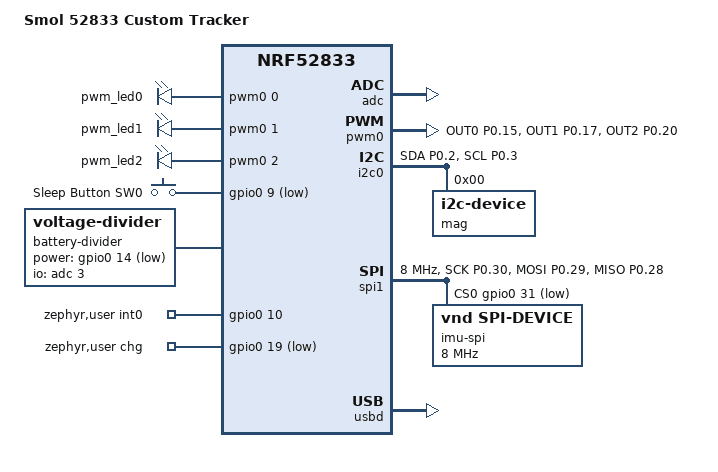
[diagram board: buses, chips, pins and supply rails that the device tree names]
/dts-v1/;
#include <nordic/nrf52833_qdaa.dtsi>

// 1. 引脚控制 (Pin Control) 配置
&pinctrl {
    // I2C (QMC6309) 引脚配置：使用外部上拉电阻，内部禁用
    i2c0_default: i2c0_default {
        group1 {
            psels = <NRF_PSEL(TWIM_SDA, 0, 2)>,
                    <NRF_PSEL(TWIM_SCL, 0, 3)>;
            bias-disable; 
        };
    };
    i2c0_sleep: i2c0_sleep {
        group1 {
            psels = <NRF_PSEL(TWIM_SDA, 0, 2)>,
                    <NRF_PSEL(TWIM_SCL, 0, 3)>;
            bias-disable;
            low-power-enable;
        };
    };

    // SPI (LSM6DSV) 引脚配置
    spi1_default: spi1_default {
        group1 {
            psels = <NRF_PSEL(SPIM_SCK, 0, 30)>,
                    <NRF_PSEL(SPIM_MOSI, 0, 29)>,
                    <NRF_PSEL(SPIM_MISO, 0, 28)>;
        };
    };
    spi1_sleep: spi1_sleep {
        group1 {
            psels = <NRF_PSEL(SPIM_SCK, 0, 30)>,
                    <NRF_PSEL(SPIM_MOSI, 0, 29)>,
                    <NRF_PSEL(SPIM_MISO, 0, 28)>;
            low-power-enable;
        };
    };

    // PWM (共阳极 RGB) 引脚配置 
    pwm0_default: pwm0_default {
        group1 {
            psels = <NRF_PSEL(PWM_OUT0, 0, 15)>, // Red
                    <NRF_PSEL(PWM_OUT1, 0, 17)>, //Green
                    <NRF_PSEL(PWM_OUT2, 0, 20)>; //Blue
            //共阳极配置：开漏输出 (拉低点亮，拉高断开)
            nordic,drive-mode = <NRF_DRIVE_S0D1>;
            nordic,invert; 
        };
    };
    pwm0_sleep: pwm0_sleep {
        group1 {
            psels = <NRF_PSEL(PWM_OUT0, 0, 15)>,
                    <NRF_PSEL(PWM_OUT1, 0, 17)>,
                    <NRF_PSEL(PWM_OUT2, 0, 20)>;
            low-power-enable;
        };
    };
};

/* 2. 根节点配置 */
/ {
    model = "Smol 52833 Custom Tracker";
    compatible = "custom,smol52833";

    chosen {
        zephyr,sram = &sram0;
        zephyr,flash = &flash0;
        /* 开启 USB 虚拟串口调试 */
        zephyr,console = &cdc_acm_uart0;
        zephyr,shell-uart = &cdc_acm_uart0;
    };

    /* RGB LED 映射 */
    pwmleds {
        compatible = "pwm-leds";
        pwm_led0: pwm_led_0 {
            pwms = <&pwm0 0 PWM_MSEC(1) PWM_POLARITY_INVERTED>;
        };
        pwm_led1: pwm_led_1 {
            pwms = <&pwm0 1 PWM_MSEC(1) PWM_POLARITY_INVERTED>;
        };
        pwm_led2: pwm_led_2 {
            pwms = <&pwm0 2 PWM_MSEC(1) PWM_POLARITY_INVERTED>;
        };
    };

    //SW0
    buttons {
        compatible = "gpio-keys";
        button0: button_0 {
            gpios = <&gpio0 9 (GPIO_PULL_UP | GPIO_ACTIVE_LOW)>;
            label = "Sleep Button SW0";
        };
    };

    aliases {
        sw0 = &button0;
        pwm-led0 = &pwm_led0;
        pwm-led1 = &pwm_led1;
        pwm-led2 = &pwm_led2;
    };

    //ADC
    battery-divider {
        compatible = "voltage-divider";
        status = "okay";
        io-channels = <&adc 3>;
        output-ohms = <510000>;
        full-ohms = <(1000000+510000)>;
        power-gpios = <&gpio0 14 (GPIO_OPEN_DRAIN|GPIO_ACTIVE_LOW)>;
    };

    zephyr,user {
        // LSM6DSV INT1
        int0-gpios = <&gpio0 10 GPIO_ACTIVE_HIGH>;
        // BQ25101 CHG
        chg-gpios = <&gpio0 19 (GPIO_ACTIVE_LOW | GPIO_PULL_UP)>;
    };
};

//启用与配置外设
&reg1 {
    regulator-initial-mode = <NRF5X_REG_MODE_DCDC>;
};

&adc {
    status = "okay";
};

&gpiote {
    status = "okay";
};

&gpio0 {
    status = "okay";
};

&gpio1 {
    status = "okay";
};

//禁用原生UART0
&uart0 {
    status = "disabled";
};

&pwm0 {
    status = "okay";
    pinctrl-0 = <&pwm0_default>;
    pinctrl-1 = <&pwm0_sleep>;
    pinctrl-names = "default", "sleep";
};

//i2c QMC6309
&i2c0 {
    compatible = "nordic,nrf-twim";
    status = "okay";
    pinctrl-0 = <&i2c0_default>;
    pinctrl-1 = <&i2c0_sleep>;
    pinctrl-names = "default", "sleep";
    
    zephyr,concat-buf-size = <1023>;
    zephyr,flash-buf-max-size = <1023>;

    mag: mag@0 {
        compatible = "i2c-device";
        label = "mag";
        reg = <0>;
    };
};

//SPI LSM6DSV
&spi1 {
    compatible = "nordic,nrf-spim";
    status = "okay";
    cs-gpios = <&gpio0 31 GPIO_ACTIVE_LOW>;
    
    
    pinctrl-0 = <&spi1_default>;
    pinctrl-1 = <&spi1_sleep>;
    pinctrl-names = "default", "sleep";
    
    clock-frequency = <DT_FREQ_M(8)>;

    imu_spi: imu_spi@0 {
        status = "okay";
        compatible = "vnd,spi-device";
        label = "imu-spi";
        reg = <0>;
        spi-max-frequency = <DT_FREQ_M(8)>;
    };
};

// 开启USB
zephyr_udc0: &usbd {
    compatible = "nordic,nrf-usbd";
    status = "okay";
    cdc_acm_uart0: cdc_acm_uart0 {
        compatible = "zephyr,cdc-acm-uart";
    };
};

//禁用NFC
&nfct {
    status = "disabled";
};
